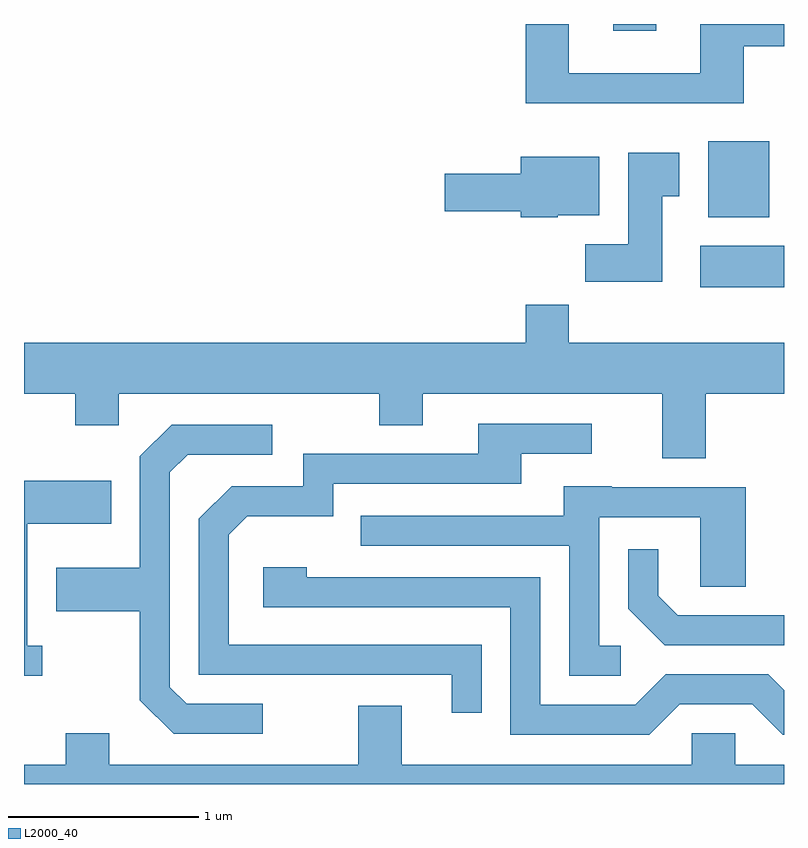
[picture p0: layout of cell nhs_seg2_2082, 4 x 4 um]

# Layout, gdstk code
import gdstk
lib = gdstk.Library(unit=1e-6, precision=1e-09)
def R(c, l, rs):  # rectangles x0, y0, x1, y1
    for r in rs: c.add(gdstk.rectangle(r[:2], r[2:], *l))
def P(c, l, *ps):  # polygons
    for p in ps: c.add(gdstk.Polygon(p, *l))
L2000_40 = (2000, 40)

nhs_seg2_2082 = lib.new_cell('nhs_seg2_2082')
R(nhs_seg2_2082, L2000_40, [(249.171,1064.416,249.611,1064.634), (249.211,1064.786,249.534,1065.184), (248.711,1065.766,248.939,1065.802)])
P(nhs_seg2_2082, L2000_40, [(249.399,1065.686),(249.611,1065.686),(249.611,1065.802),(249.171,1065.802),(249.171,1065.544),(248.479,1065.544),(248.479,1065.802),(248.251,1065.802),(248.251,1065.386),(249.399,1065.386)],
  [(248.969,1064.896),(249.059,1064.896),(249.059,1065.124),(248.791,1065.124),(248.791,1064.644),(248.566,1064.644),(248.566,1064.446),(248.969,1064.446)],
  [(248.42,1064.796),(248.639,1064.796),(248.639,1065.104),(248.226,1065.104),(248.226,1065.014),(247.826,1065.014),(247.826,1064.816),(248.226,1064.816),(248.226,1064.786),(248.42,1064.786)],
  [(249.199,1063.856),(249.611,1063.856),(249.611,1064.124),(248.479,1064.124),(248.479,1064.324),(248.251,1064.324),(248.251,1064.124),(245.611,1064.124),(245.611,1063.856),(245.881,1063.856),(245.881,1063.691),(246.109,1063.691),(246.109,1063.856),(247.481,1063.856),(247.481,1063.691),(247.709,1063.691),(247.709,1063.856),(248.971,1063.856),(248.971,1063.516),(249.199,1063.516)],
  [(248.019,1062.534),(246.689,1062.534),(246.689,1063.114),(246.787,1063.211),(247.239,1063.211),(247.239,1063.381),(248.229,1063.381),(248.229,1063.541),(248.598,1063.541),(248.598,1063.699),(248.001,1063.699),(248.001,1063.539),(247.081,1063.539),(247.081,1063.369),(246.704,1063.369),(246.531,1063.197),(246.531,1062.376),(247.861,1062.376),(247.861,1062.178),(248.019,1062.178)],
  [(246.868,1062.224),(246.467,1062.224),(246.379,1062.312),(246.379,1063.444),(246.472,1063.536),(246.918,1063.536),(246.918,1063.694),(246.389,1063.694),(246.221,1063.527),(246.221,1062.939),(245.781,1062.939),(245.781,1062.711),(246.221,1062.711),(246.221,1062.244),(246.399,1062.066),(246.868,1062.066)],
  [(245.708,1062.529),(245.629,1062.529),(245.629,1063.171),(246.069,1063.171),(246.069,1063.399),(245.611,1063.399),(245.611,1062.371),(245.708,1062.371)],
  [(248.753,1062.529),(248.639,1062.529),(248.639,1063.206),(249.171,1063.206),(249.171,1062.841),(249.409,1062.841),(249.409,1063.364),(248.705,1063.364),(248.705,1063.369),(248.451,1063.369),(248.451,1063.214),(247.383,1063.214),(247.383,1063.056),(248.481,1063.056),(248.481,1062.371),(248.753,1062.371)],
  [(249.611,1062.689),(249.052,1062.689),(248.949,1062.792),(248.949,1063.038),(248.791,1063.038),(248.791,1062.724),(248.984,1062.531),(249.611,1062.531)],
  [(249.062,1062.221),(249.444,1062.221),(249.604,1062.061),(249.611,1062.061),(249.611,1062.295),(249.527,1062.379),(248.989,1062.379),(248.829,1062.219),(248.329,1062.219),(248.329,1062.889),(247.099,1062.889),(247.099,1062.944),(246.871,1062.944),(246.871,1062.731),(248.171,1062.731),(248.171,1062.061),(248.902,1062.061)],
  [(249.611,1061.904),(249.354,1061.904),(249.354,1062.069),(249.126,1062.069),(249.126,1061.904),(247.599,1061.904),(247.599,1062.214),(247.371,1062.214),(247.371,1061.904),(246.059,1061.904),(246.059,1062.069),(245.831,1062.069),(245.831,1061.904),(245.611,1061.904),(245.611,1061.802),(249.611,1061.802)])

lib.write_gds('nhs_seg2_2082.gds')
